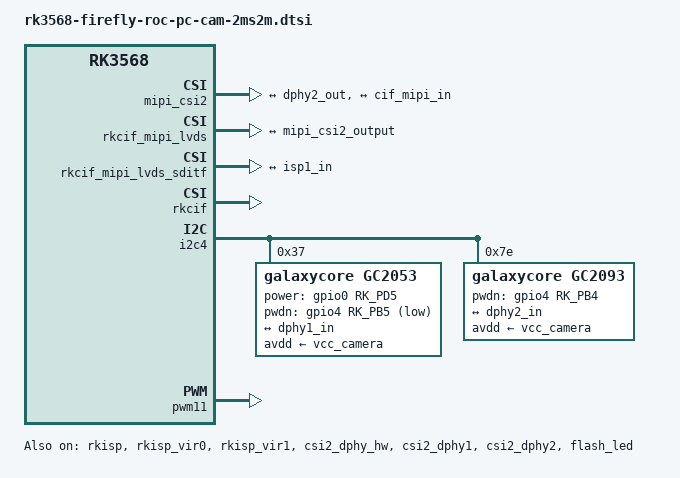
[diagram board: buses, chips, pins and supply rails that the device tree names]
// SPDX-License-Identifier: (GPL-2.0+ OR MIT)
/*
 * Copyright (c) 2020 Rockchip Electronics Co., Ltd.
 *
 */

&can2 {
	status = "disabled";
};

&rkisp {
	status = "okay";
};

&rkisp_mmu {
	status = "okay";
};

&rkisp_vir0 {
	status = "okay";
	port {
		#address-cells = <1>;
		#size-cells = <0>;

		isp0_in: endpoint@0 {
			reg = <0>;
			remote-endpoint = <&dphy1_out>;
		};
	};
};

&rkisp_vir1 {
	status = "okay";
	port {
		#address-cells = <1>;
		#size-cells = <0>;

		isp1_in: endpoint@0 {
			reg = <0>;
			remote-endpoint = <&mipi_lvds_sditf>;
		};
	};
};

&csi2_dphy_hw {
	status = "okay";
};

&csi2_dphy0 {
	status = "disabled";
};

&csi2_dphy1 {
	status = "okay";
	/*
	 * dphy1 only used for split mode,
	 * can be used concurrently with dphy2
	 * full mode and split mode are mutually exclusive
	 */
	ports {
		#address-cells = <1>;
		#size-cells = <0>;

		port@0 {
			reg = <0>;
			#address-cells = <1>;
			#size-cells = <0>;

			dphy1_in: endpoint@1 {
				reg = <1>;
				remote-endpoint = <&gc2053_out>;
				data-lanes = <1 2>;
			};
		};

		port@1 {
			reg = <1>;
			#address-cells = <1>;
			#size-cells = <0>;

			dphy1_out: endpoint@1 {
				reg = <1>;
				remote-endpoint = <&isp0_in>;
			};
		};
	};
};

&csi2_dphy2 {
	status = "okay";
	/*
	 * dphy2 only used for split mode,
	 * can be used concurrently with dphy1
	 * full mode and split mode are mutually exclusive
	 */
	ports {
		#address-cells = <1>;
		#size-cells = <0>;

		port@0 {
			reg = <0>;
			#address-cells = <1>;
			#size-cells = <0>;

			dphy2_in: endpoint@1 {
				reg = <1>;
				remote-endpoint = <&gc2093_out>;
				data-lanes = <1 2>;
			};
		};

		port@1 {
			reg = <1>;
			#address-cells = <1>;
			#size-cells = <0>;

			dphy2_out: endpoint@1 {
				reg = <1>;
				remote-endpoint = <&mipi_csi2_input>;
			};
		};
	};
};

&mipi_csi2 {
    status = "okay";

    ports {
        #address-cells = <1>;
        #size-cells = <0>;

        port@0 {
            reg = <0>;
            #address-cells = <1>;
            #size-cells = <0>;

            mipi_csi2_input: endpoint@1 {
                    reg = <1>;
                    remote-endpoint = <&dphy2_out>;
                    data-lanes = <1 2>;
            };
        };

        port@1 {
            reg = <1>;
            #address-cells = <1>;
            #size-cells = <0>;

            mipi_csi2_output: endpoint@0 {
                    reg = <0>;
                    remote-endpoint = <&cif_mipi_in>;
                    data-lanes = <1 2>;
            };
        };
    };
};

&rkcif_mipi_lvds {
    status = "okay";
    port {
        cif_mipi_in: endpoint {
            remote-endpoint = <&mipi_csi2_output>;
            data-lanes = <1 2>;
        };
    };
};

&rkcif_mipi_lvds_sditf {
    status = "okay";
    port {
        mipi_lvds_sditf: endpoint {
            remote-endpoint = <&isp1_in>;
            data-lanes = <1 2>;
        };
    };
};

&rkcif_mmu {
    status = "okay";
};

&rkcif {
    status = "okay";
};

&i2c4 {
	status = "okay";
	gc2053: gc2053@37 { //IR
		status = "okay";
		compatible = "galaxycore,gc2053";
		reg = <0x37>;

		avdd-supply = <&vcc_camera>;
		power-domains = <&power RK3568_PD_VI>;
		clocks = <&pmucru CLK_WIFI>;
		clock-names = "xvclk";
		pinctrl-names = "default";
		pinctrl-0 = <&refclk_pins>;

		//power-gpios = <&pca9555 PCA_IO0_3 GPIO_ACTIVE_HIGH>; //IR_PWR_EN
		power-gpios = <&gpio0 RK_PD5 GPIO_ACTIVE_HIGH>; //IR_PWR_EN
		pwdn-gpios = <&gpio4 RK_PB5 GPIO_ACTIVE_LOW>;

		firefly,clkout-enabled-index = <1>;
		rockchip,camera-module-index = <0>;
		rockchip,camera-module-facing = "back";
		rockchip,camera-module-name = "YT-RV1109-2-V1";
		rockchip,camera-module-lens-name = "40IR-2MP-F20";
		port {
			gc2053_out: endpoint {
				remote-endpoint = <&dphy1_in>;
				data-lanes = <1 2>;
			};
		};
	};

	gc2093: gc2093b@7e { //RGB
		status = "okay";
		compatible = "galaxycore,gc2093";
		reg = <0x7e>;

		avdd-supply = <&vcc_camera>;
		power-domains = <&power RK3568_PD_VI>;
		//clocks = <&pmucru CLK_WIFI>;
		clock-names = "xvclk";
		pinctrl-names = "default";
		//pinctrl-0 = <&refclk_pins>;
		flash-leds = <&flash_led>;

		pwdn-gpios = <&gpio4 RK_PB4 GPIO_ACTIVE_HIGH>;

		firefly,clkout-enabled-index = <0>;
		rockchip,camera-module-index = <1>;
		rockchip,camera-module-facing = "front";
		rockchip,camera-module-name = "YT-RV1109-2-V1";
		rockchip,camera-module-lens-name = "40IR-2MP-F20";
		port {
			gc2093_out: endpoint {
				remote-endpoint = <&dphy2_in>;
				data-lanes = <1 2>;
			};
		};
	};
};

&flash_led {
	status = "okay";
};

&vcc_camera {
	status = "okay";
	gpio = <&gpio0 RK_PD6 GPIO_ACTIVE_HIGH>;
	/delete-property/ pinctrl-names;
	/delete-property/ pinctrl-0;
};

&pwm11 {
	status = "okay";
	pinctrl-0 = <&pwm11m1_pins>;
};
